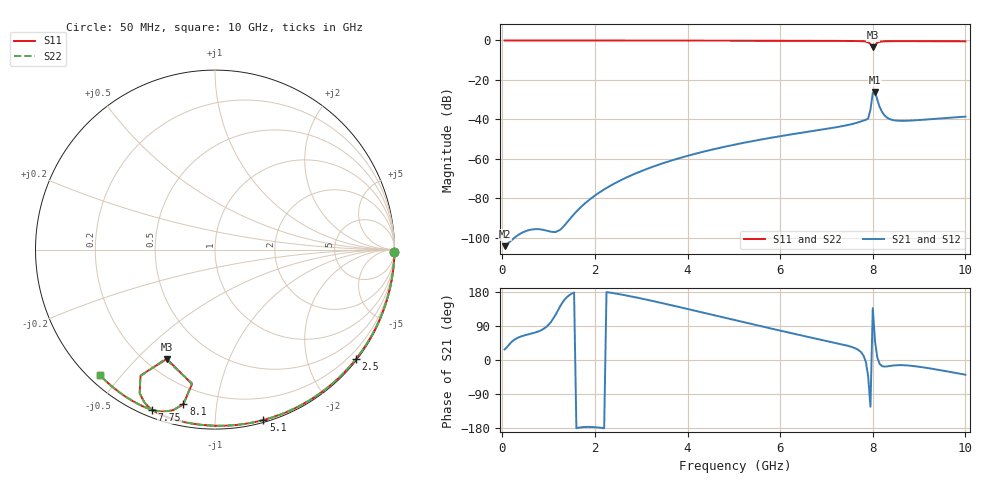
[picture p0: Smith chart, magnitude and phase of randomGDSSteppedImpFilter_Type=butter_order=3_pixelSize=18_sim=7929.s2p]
! freq	dB(S11)	phase(S11)	dB(S12)	phase(S12)
!  dB(S21)	phase(S21)	dB(S22)	phase(S22)
!S-par simulation data
#  GHz  S  DB  R 50
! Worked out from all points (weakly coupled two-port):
!   200 points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, 50 MHz to 10 GHz, reference 50 ohm
!   highest |S21| = -26.06 dB at 8.05 GHz (marker M1); lowest = -104.2 dB at 50 MHz (marker M2)
!   lowest |S11| = -3.5 dB at 8 GHz (marker M3), VSWR 4.99, Z = 14.1 - j30.8 ohm
!   |S11| at or under -10 dB: nowhere
!   |S22| runs from -3.5 to 0.0 dB; largest |S21 - S12| = 0
!   S11 on the Smith chart (normalised r, x): 50 MHz: open; 2.5 GHz: 0.03, -2.92; 5.1 GHz: 0.02, -1.32; 7.75 GHz: 0.03, -0.68; 8.1 GHz: 0.11, -0.81; 10 GHz: 0.03, -0.44
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0.05  -0.00 -0.8  -104.17 27.8  -104.17 27.8  -0.00 -0.8
1.75  -0.03 -26.7  -83.24 -177.0  -83.24 -177.0  -0.03 -26.7
1.9  -0.04 -28.9  -80.29 -176.6  -80.29 -176.6  -0.04 -28.9
2.5  -0.05 -37.8  -71.48 174.4  -71.48 174.4  -0.05 -37.8
3.4  -0.07 -50.8  -62.72 151.6  -62.72 151.6  -0.07 -50.8
4.15  -0.09 -61.3  -57.49 130.4  -57.49 130.4  -0.09 -61.3
5.05  -0.11 -73.5  -52.60 104.5  -52.60 104.5  -0.11 -73.5
5.1  -0.11 -74.2  -52.36 103.1  -52.36 103.1  -0.11 -74.2
6.7  -0.18 -95.1  -45.86 58.3  -45.86 58.3  -0.18 -95.1
7.4  -0.24 -104.7  -43.13 39.4  -43.13 39.4  -0.24 -104.7
7.75  -0.37 -111.4  -40.96 20.3  -40.96 20.3  -0.36 -111.4
7.9  -0.89 -117.7  -39.59 -42.1  -39.59 -42.1  -0.87 -117.6
7.95  -1.78 -120.6  -35.07 -123.3  -35.07 -123.3  -1.73 -120.6
8  -3.53 -113.8  -26.57 136.9  -26.57 136.9  -3.50 -114.4
8.05  -2.38 -99.7  -26.06 48.2  -26.06 48.2  -2.44 -99.8
8.1  -1.11 -101.6  -30.20 5.5  -30.20 5.5  -1.13 -101.5
8.15  -0.69 -104.5  -33.72 -10.6  -33.72 -10.6  -0.70 -104.5
8.2  -0.52 -106.7  -36.18 -16.1  -36.18 -16.1  -0.53 -106.7
8.25  -0.44 -108.3  -37.82 -17.4  -37.82 -17.4  -0.45 -108.3
8.35  -0.38 -110.8  -39.62 -16.1  -39.62 -16.1  -0.38 -110.8
8.7  -0.34 -116.5  -40.69 -14.0  -40.69 -14.0  -0.35 -116.5
10  -0.46 -132.7  -38.56 -38.8  -38.56 -38.8  -0.46 -132.7
